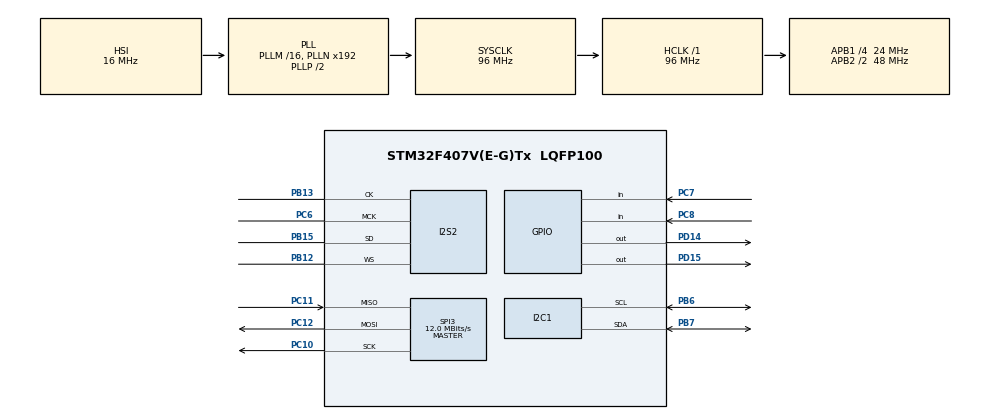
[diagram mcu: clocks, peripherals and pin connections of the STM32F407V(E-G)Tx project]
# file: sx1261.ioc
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Dma.Request0=SPI2_RX
Dma.SPI2_RX.0.Direction=DMA_PERIPH_TO_MEMORY
Dma.SPI2_RX.0.FIFOMode=DMA_FIFOMODE_DISABLE
Dma.SPI2_RX.0.Instance=DMA1_Stream3
Dma.SPI2_RX.0.MemDataAlignment=DMA_MDATAALIGN_HALFWORD
Dma.SPI2_RX.0.MemInc=DMA_MINC_ENABLE
Dma.SPI2_RX.0.Mode=DMA_CIRCULAR
Dma.SPI2_RX.0.PeriphDataAlignment=DMA_PDATAALIGN_HALFWORD
Dma.SPI2_RX.0.PeriphInc=DMA_PINC_DISABLE
Dma.SPI2_RX.0.Priority=DMA_PRIORITY_LOW
I2S2.AudioFreq=I2S_AUDIOFREQ_16K
I2S2.ErrorAudioFreq=0.0 %
I2S2.FullDuplexMode=I2S_FULLDUPLEXMODE_DISABLE
I2S2.Instance=SPI$Index
I2S2.Mode=I2S_MODE_MASTER_RX
I2S2.RealAudioFreq=16.0 KHz
I2S2.VirtualMode=I2S_MODE_MASTER
Mcu.Family=STM32F4
Mcu.Name=STM32F407V(E-G)Tx
Mcu.Package=LQFP100
NVIC.DMA1_Stream3_IRQn=true\:0\:0\:false\:false\:true\:false\:true\:true
NVIC.PriorityGroup=NVIC_PRIORITYGROUP_4
PB12.GPIO_Speed=GPIO_SPEED_FREQ_VERY_HIGH
PB12.Mode=Half_Duplex_Master
PB12.Signal=I2S2_WS
PB13.GPIO_Speed=GPIO_SPEED_FREQ_VERY_HIGH
PB13.Mode=Half_Duplex_Master
PB13.Signal=I2S2_CK
PB15.Mode=Half_Duplex_Master
PB15.Signal=I2S2_SD
PB6.GPIO_Pu=GPIO_PULLUP
PB6.GPIO_Speed=GPIO_SPEED_FREQ_HIGH
PB6.Mode=I2C
PB6.Signal=I2C1_SCL
PB7.GPIO_Pu=GPIO_PULLUP
PB7.GPIO_Speed=GPIO_SPEED_FREQ_HIGH
PB7.Mode=I2C
PB7.Signal=I2C1_SDA
PC10.Mode=Full_Duplex_Master
PC10.Signal=SPI3_SCK
PC11.Mode=Full_Duplex_Master
PC11.Signal=SPI3_MISO
PC12.Mode=Full_Duplex_Master
PC12.Signal=SPI3_MOSI
PC6.GPIO_Speed=GPIO_SPEED_FREQ_VERY_HIGH
PC6.Mode=Master_Clock_Activated
PC6.Signal=I2S2_MCK
PC7.Signal=GPIO_Input
PC8.Signal=GPIO_Input
PD14.PinState=GPIO_PIN_SET
PD14.Signal=GPIO_Output
PD15.PinState=GPIO_PIN_SET
PD15.Signal=GPIO_Output
ProjectManager.HeapSize=0x200
ProjectManager.StackSize=0x400
ProjectManager.TargetToolchain=STM32CubeIDE
RCC.48MHZClocksFreq_Value=48000000
RCC.AHBFreq_Value=96000000
RCC.APB1CLKDivider=RCC_HCLK_DIV4
RCC.APB1Freq_Value=24000000
RCC.APB1TimFreq_Value=48000000
RCC.APB2CLKDivider=RCC_HCLK_DIV2
RCC.APB2Freq_Value=48000000
RCC.APB2TimFreq_Value=96000000
RCC.CortexFreq_Value=96000000
RCC.HCLKFreq_Value=96000000
RCC.HSE_VALUE=16000000
RCC.HSI_VALUE=16000000
RCC.LSE_VALUE=32768
RCC.PLLI2SN=213
RCC.SYSCLKFreq_VALUE=96000000
RCC.SYSCLKSource=RCC_SYSCLKSOURCE_PLLCLK
RCC.VCOOutputFreq_Value=192000000
SPI3.BaudRatePrescaler=SPI_BAUDRATEPRESCALER_2
SPI3.CalculateBaudRate=12.0 MBits/s
SPI3.Direction=SPI_DIRECTION_2LINES
SPI3.Mode=SPI_MODE_MASTER
SPI3.VirtualType=VM_MASTER
board=custom

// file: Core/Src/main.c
/* USER CODE BEGIN Header */
/**
  ******************************************************************************
  * @file           : main.c
  * @brief          : Main program body
  ******************************************************************************
  * @attention
  *
  * Copyright (c) 2026 STMicroelectronics.
  * All rights reserved.
  *
  * This software is licensed under terms that can be found in the LICENSE file
  * in the root directory of this software component.
  * If no LICENSE file comes with this software, it is provided AS-IS.
  *
  ******************************************************************************
  */
/* USER CODE END Header */
#include "main.h"

/* USER CODE BEGIN Includes */
#include"sx126x.h"
#include "sx126x_hal.h"
#include "sx126x_regs.h"
#include "nau88l11.h"
/* USER CODE END Includes */

I2C_HandleTypeDef hi2c1;

I2S_HandleTypeDef hi2s2;
DMA_HandleTypeDef hdma_spi2_rx;

SPI_HandleTypeDef hspi3;

void SystemClock_Config(void);
static void MX_GPIO_Init(void);
static void MX_DMA_Init(void);
static void MX_SPI3_Init(void);
static void MX_I2C1_Init(void);
static void MX_I2S2_Init(void);

/* USER CODE BEGIN 0 */
uint8_t tx_data[] = "HELLL";

void SX1261_Init(void)
{
    // --------------------------------------------------
    // RESET
    // --------------------------------------------------

    sx126x_hal_reset(NULL);

    HAL_Delay(20);

    // --------------------------------------------------
    // TCXO via DIO3
    // --------------------------------------------------

    sx126x_set_dio3_as_tcxo_ctrl(
        NULL,
        SX126X_TCXO_CTRL_3_3V,
        5000
    );

    HAL_Delay(50);

    // --------------------------------------------------
    // STANDBY XOSC
    // --------------------------------------------------

    sx126x_set_standby(
        NULL,
        SX126X_STANDBY_CFG_XOSC
    );

    HAL_Delay(10);

    // --------------------------------------------------
    // DIO2 RF SWITCH
    // --------------------------------------------------

//    sx126x_set_dio2_as_rf_sw_ctrl(
//        NULL,
//        true
//    );

    // --------------------------------------------------
    // PACKET TYPE = GFSK
    // --------------------------------------------------

    sx126x_set_pkt_type(
        NULL,
        SX126X_PKT_TYPE_GFSK
    );

    // --------------------------------------------------
    // RF FREQUENCY
    // --------------------------------------------------

    sx126x_set_rf_freq(
        NULL,
        433000000
    );

    // --------------------------------------------------
    // IMAGE CALIBRATION
    // --------------------------------------------------

    sx126x_cal_img(
        NULL,
        0x6B,
        0x6F
    );

    // --------------------------------------------------
    // PA CONFIG
    // --------------------------------------------------

    sx126x_pa_cfg_params_t pa_cfg;

    pa_cfg.pa_duty_cycle = 0x04;
    pa_cfg.hp_max        = 0x07;
    pa_cfg.device_sel    = 0x00;
    pa_cfg.pa_lut        = 0x01;

    sx126x_set_pa_cfg(
        NULL,
        &pa_cfg
    );

    // --------------------------------------------------
    // TX POWER
    // --------------------------------------------------

    sx126x_set_tx_params(
        NULL,
        10,
        SX126X_RAMP_200_US
    );

    // --------------------------------------------------
    // GFSK MODULATION PARAMS
    // --------------------------------------------------

    sx126x_mod_params_gfsk_t mod_params;

    mod_params.br_in_bps =
        50000;

    mod_params.fdev_in_hz =
        25000;

    mod_params.pulse_shape =
        SX126X_GFSK_PULSE_SHAPE_BT_1;

    mod_params.bw_dsb_param =
        SX126X_GFSK_BW_117300;

    sx126x_set_gfsk_mod_params(
        NULL,
        &mod_params
    );

    // --------------------------------------------------
    // GFSK PACKET PARAMS
    // --------------------------------------------------

    sx126x_pkt_params_gfsk_t pkt_params;

    pkt_params.preamble_len_in_bits =
        32;

    pkt_params.preamble_detector =
        SX126X_GFSK_PREAMBLE_DETECTOR_MIN_16BITS;

    pkt_params.sync_word_len_in_bits =
        32;

    pkt_params.address_filtering =
        SX126X_GFSK_ADDRESS_FILTERING_DISABLE;

    pkt_params.header_type =
        SX126X_GFSK_PKT_VAR_LEN;

    pkt_params.pld_len_in_bytes =
        5;

    pkt_params.crc_type =
        SX126X_GFSK_CRC_2_BYTES;

    pkt_params.dc_free =
        SX126X_GFSK_DC_FREE_OFF;

    sx126x_set_gfsk_pkt_params(
        NULL,
        &pkt_params
    );

    // --------------------------------------------------
    // GFSK SYNC WORD
    // --------------------------------------------------

    uint8_t sync_word[4] =
    {
        0x12,
        0x34,
        0x56,
        0x78
    };

    sx126x_set_gfsk_sync_word(
        NULL,
        sync_word,
        4
    );

    // --------------------------------------------------
    // BUFFER BASE
    // --------------------------------------------------

    sx126x_set_buffer_base_address(
        NULL,
        0x00,
        0x00
    );

    // --------------------------------------------------
    // IRQ CONFIG
    // --------------------------------------------------

    sx126x_set_dio_irq_params(
        NULL,

        SX126X_IRQ_TX_DONE |
        SX126X_IRQ_RX_DONE |
        SX126X_IRQ_TIMEOUT |
        SX126X_IRQ_CRC_ERROR,

        SX126X_IRQ_TX_DONE |
        SX126X_IRQ_RX_DONE |
        SX126X_IRQ_TIMEOUT |
        SX126X_IRQ_CRC_ERROR,

        SX126X_IRQ_NONE,
        SX126X_IRQ_NONE
    );

    // --------------------------------------------------
    // KEEP XOSC ACTIVE
    // --------------------------------------------------

    sx126x_set_rx_tx_fallback_mode(
        NULL,
        SX126X_FALLBACK_STDBY_XOSC
    );

    // --------------------------------------------------
    // CLEAR ERRORS
    // --------------------------------------------------

    sx126x_clear_device_errors(NULL);
}

void SX1261_Send(uint8_t* data, uint8_t len)
{
    // Clear old IRQs
    sx126x_clear_irq_status(
        NULL,
        SX126X_IRQ_ALL
    );

    // Write payload
    sx126x_write_buffer(
        NULL,
        0x00,
        data,
        len
    );

    // Start TX
    sx126x_set_tx(
        NULL,
        5000
    );
    __NOP();

}
volatile uint32_t debug_stage = 0;

/* USER CODE END 0 */

int main(void)
{

  /* MCU Configuration--------------------------------------------------------*/

  /* Reset of all peripherals, Initializes the Flash interface and the Systick. */
  HAL_Init();

  /* Configure the system clock */
  SystemClock_Config();

  /* Initialize all configured peripherals */
  MX_GPIO_Init();
  MX_DMA_Init();
  MX_SPI3_Init();
  MX_I2C1_Init();
  MX_I2S2_Init();
  /* USER CODE BEGIN 2 */

//  SX1261_Init();
//
//  HAL_Delay(100);

  if (NAU88L11_Ping() != HAL_OK)
      Error_Handler();

  if (NAU88L11_InitMicPath() != HAL_OK)
      Error_Handler();

  if (NAU88L11_StartRxDMA() != HAL_OK)
      Error_Handler();
  /* USER CODE END 2 */

  /* Infinite loop */
  /* USER CODE BEGIN WHILE */
  while (1)
  {
	    nau_write(0x74, 0x0104);

	    HAL_Delay(1300);

	    nau_write(0x74, 0x0000);

	    HAL_Delay(1300);

//	  // Clear IRQs
//	      sx126x_clear_irq_status(
//	          NULL,
//	          SX126X_IRQ_ALL
//	      );
//
//	      // Send packet
//	      SX1261_Send(tx_data, 5);
//
//	      // Wait TX complete
//	      HAL_Delay(1500);
//
//	      // Read IRQ
//	      sx126x_irq_mask_t irq;
//
//	      sx126x_get_irq_status(
//	          NULL,
//	          &irq
//	      );
//
//	      // Read status
//	      sx126x_chip_status_t status;
//
//	      sx126x_get_status(
//	          NULL,
//	          &status
//	      );
//
//	      // Read errors
//	      sx126x_errors_mask_t errors;
//
//	      sx126x_get_device_errors(
//	          NULL,
//	          &errors
//	      );
//	      HAL_Delay(100);
    /* USER CODE END WHILE */

  }
}

void SystemClock_Config(void)
{
  RCC_OscInitTypeDef RCC_OscInitStruct = {0};
  RCC_ClkInitTypeDef RCC_ClkInitStruct = {0};

  /** Configure the main internal regulator output voltage
  */
  __HAL_RCC_PWR_CLK_ENABLE();
  __HAL_PWR_VOLTAGESCALING_CONFIG(PWR_REGULATOR_VOLTAGE_SCALE1);

  /** Initializes the RCC Oscillators according to the specified parameters
  * in the RCC_OscInitTypeDef structure.
  */
  RCC_OscInitStruct.OscillatorType = RCC_OSCILLATORTYPE_HSI;
  RCC_OscInitStruct.HSIState = RCC_HSI_ON;
  RCC_OscInitStruct.HSICalibrationValue = RCC_HSICALIBRATION_DEFAULT;
  RCC_OscInitStruct.PLL.PLLState = RCC_PLL_ON;
  RCC_OscInitStruct.PLL.PLLSource = RCC_PLLSOURCE_HSI;
  RCC_OscInitStruct.PLL.PLLM = 16;
  RCC_OscInitStruct.PLL.PLLN = 192;
  RCC_OscInitStruct.PLL.PLLP = RCC_PLLP_DIV2;
  RCC_OscInitStruct.PLL.PLLQ = 4;
  if (HAL_RCC_OscConfig(&RCC_OscInitStruct) != HAL_OK)
  {
    Error_Handler();
  }

  /** Initializes the CPU, AHB and APB buses clocks
  */
  RCC_ClkInitStruct.ClockType = RCC_CLOCKTYPE_HCLK|RCC_CLOCKTYPE_SYSCLK
                              |RCC_CLOCKTYPE_PCLK1|RCC_CLOCKTYPE_PCLK2;
  RCC_ClkInitStruct.SYSCLKSource = RCC_SYSCLKSOURCE_PLLCLK;
  RCC_ClkInitStruct.AHBCLKDivider = RCC_SYSCLK_DIV1;
  RCC_ClkInitStruct.APB1CLKDivider = RCC_HCLK_DIV4;
  RCC_ClkInitStruct.APB2CLKDivider = RCC_HCLK_DIV2;

  if (HAL_RCC_ClockConfig(&RCC_ClkInitStruct, FLASH_LATENCY_3) != HAL_OK)
  {
    Error_Handler();
  }
}

static void MX_I2C1_Init(void)
{

  hi2c1.Instance = I2C1;
  hi2c1.Init.ClockSpeed = 100000;
  hi2c1.Init.DutyCycle = I2C_DUTYCYCLE_2;
  hi2c1.Init.OwnAddress1 = 0;
  hi2c1.Init.AddressingMode = I2C_ADDRESSINGMODE_7BIT;
  hi2c1.Init.DualAddressMode = I2C_DUALADDRESS_DISABLE;
  hi2c1.Init.OwnAddress2 = 0;
  hi2c1.Init.GeneralCallMode = I2C_GENERALCALL_DISABLE;
  hi2c1.Init.NoStretchMode = I2C_NOSTRETCH_DISABLE;
  if (HAL_I2C_Init(&hi2c1) != HAL_OK)
  {
    Error_Handler();
  }

}

static void MX_I2S2_Init(void)
{

  hi2s2.Instance = SPI2;
  hi2s2.Init.Mode = I2S_MODE_MASTER_RX;
  hi2s2.Init.Standard = I2S_STANDARD_PHILIPS;
  hi2s2.Init.DataFormat = I2S_DATAFORMAT_16B;
  hi2s2.Init.MCLKOutput = I2S_MCLKOUTPUT_ENABLE;
  hi2s2.Init.AudioFreq = I2S_AUDIOFREQ_16K;
  hi2s2.Init.CPOL = I2S_CPOL_LOW;
  hi2s2.Init.ClockSource = I2S_CLOCK_PLL;
  hi2s2.Init.FullDuplexMode = I2S_FULLDUPLEXMODE_DISABLE;
  if (HAL_I2S_Init(&hi2s2) != HAL_OK)
  {
    Error_Handler();
  }

}

static void MX_SPI3_Init(void)
{

  /* SPI3 parameter configuration*/
  hspi3.Instance = SPI3;
  hspi3.Init.Mode = SPI_MODE_MASTER;
  hspi3.Init.Direction = SPI_DIRECTION_2LINES;
  hspi3.Init.DataSize = SPI_DATASIZE_8BIT;
  hspi3.Init.CLKPolarity = SPI_POLARITY_LOW;
  hspi3.Init.CLKPhase = SPI_PHASE_1EDGE;
  hspi3.Init.NSS = SPI_NSS_SOFT;
  hspi3.Init.BaudRatePrescaler = SPI_BAUDRATEPRESCALER_2;
  hspi3.Init.FirstBit = SPI_FIRSTBIT_MSB;
  hspi3.Init.TIMode = SPI_TIMODE_DISABLE;
  hspi3.Init.CRCCalculation = SPI_CRCCALCULATION_DISABLE;
  hspi3.Init.CRCPolynomial = 10;
  if (HAL_SPI_Init(&hspi3) != HAL_OK)
  {
    Error_Handler();
  }

}

static void MX_DMA_Init(void)
{

  /* DMA controller clock enable */
  __HAL_RCC_DMA1_CLK_ENABLE();

  /* DMA interrupt init */
  /* DMA1_Stream3_IRQn interrupt configuration */
  HAL_NVIC_SetPriority(DMA1_Stream3_IRQn, 0, 0);
  HAL_NVIC_EnableIRQ(DMA1_Stream3_IRQn);

}

static void MX_GPIO_Init(void)
{
  GPIO_InitTypeDef GPIO_InitStruct = {0};

  /* GPIO Ports Clock Enable */
  __HAL_RCC_GPIOB_CLK_ENABLE();
  __HAL_RCC_GPIOD_CLK_ENABLE();
  __HAL_RCC_GPIOC_CLK_ENABLE();

  /*Configure GPIO pin Output Level */
  HAL_GPIO_WritePin(GPIOD, GPIO_PIN_14|GPIO_PIN_15, GPIO_PIN_SET);

  /*Configure GPIO pins : PD14 PD15 */
  GPIO_InitStruct.Pin = GPIO_PIN_14|GPIO_PIN_15;
  GPIO_InitStruct.Mode = GPIO_MODE_OUTPUT_PP;
  GPIO_InitStruct.Pull = GPIO_NOPULL;
  GPIO_InitStruct.Speed = GPIO_SPEED_FREQ_LOW;
  HAL_GPIO_Init(GPIOD, &GPIO_InitStruct);

  /*Configure GPIO pins : PC7 PC8 */
  GPIO_InitStruct.Pin = GPIO_PIN_7|GPIO_PIN_8;
  GPIO_InitStruct.Mode = GPIO_MODE_INPUT;
  GPIO_InitStruct.Pull = GPIO_NOPULL;
  HAL_GPIO_Init(GPIOC, &GPIO_InitStruct);

}

void Error_Handler(void)
{
  __disable_irq();
  while (1)
  {
  }
}
